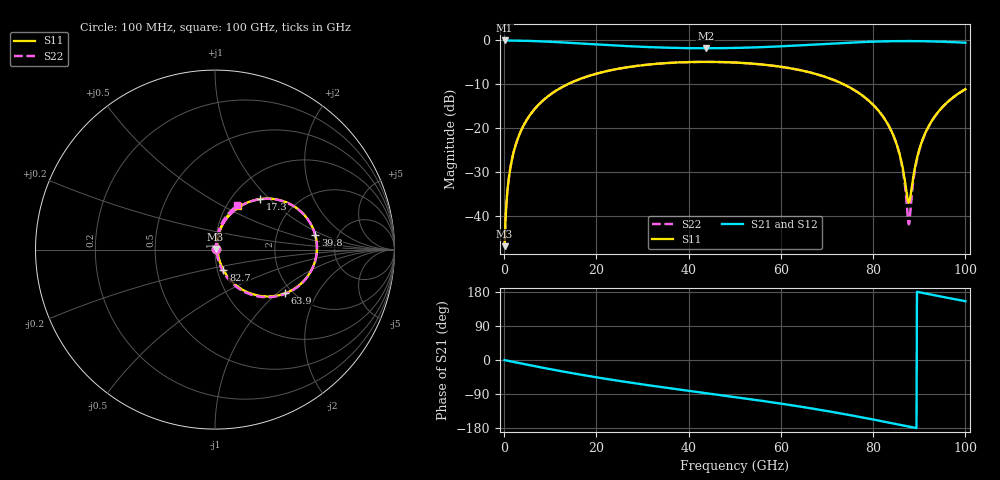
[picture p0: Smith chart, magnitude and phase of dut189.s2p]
! Touchstone file exported from HFSS 2026.1.0
!  File:  C:/ffzhzh/LocalFiles/Ansys_Project_Files/temp_train_RDL_189_1783500524_41296.aedt
!  Generated:  04:50:16 PM Jul  8, 2026
!  Design:  RDL
!  Project:  temp_train_RDL_189_1783500524_41296
! Variables:
!  h_bsmrdl = 2um
!  h_ox = 20um
!  h_rdl = 5um
!  h_sub = 80um
!  h_tmrdl = 2.77um
!  h_tsv = 80um
!  h_via = 3um
!  l_bsmrdl = 300um
!  l_sub = 1056.96um
!  l_tmrdl = 656.96um
!  m_sub = 200um
!  pitch = 56.2um
!  r_tsv = 6um
!  s_tmrdl = 10um
!  w_bsmrdl = 18um
!  w_sub = 500um
!  w_tmrdl = 25.96um
!  x_tsv_center1 = 669.94um
!  x_tsv_center2 = 987.94um
!  x_tsv_center3 = 1670.86um
!  x_tsv_center4 = 1988.86um
!  x_tsv_center5 = 2671.78um
!  x_tsv_center6 = 2989.78um
# GHz S MA R 50.000000
! Terminal data exported
! Port[1] = TM_RDL1_1_T1
! Port[2] = TM_RDL1_1_T2
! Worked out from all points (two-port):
!   1000 points, 100 MHz to 100 GHz, reference 50 ohm
!   highest |S21| = -0.03 dB at 100 MHz (marker M1); lowest = -1.8 dB at 43.7 GHz (marker M2)
!   |S21| within 3 dB of the highest: start of sweep to end of sweep
!   lowest |S11| = -46.9 dB at 100 MHz (marker M3), VSWR 1.01, Z = 50.4 + j0.285 ohm
!   |S11| at or under -10 dB: start of sweep to 13.79 GHz; 73.56 GHz to end of sweep
!   |S22| runs from -46.9 to -4.9 dB; largest |S21 - S12| = 1.8e-14
!   S11 on the Smith chart (normalised r, x): 100 MHz: 1.01, +0.01; 17.3 GHz: 1.34, +0.88; 39.8 GHz: 3.38, +0.82; 63.9 GHz: 1.83, -1.13; 82.7 GHz: 1.07, -0.25; 100 GHz: 1.13, +0.60
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0.1  0.004512 38.8  0.9965 -0.3  0.9965 -0.3  0.004512 38.8
! Gamma 0 0 0 0
! Port Impedance 50 0 50 0
0.9  0.02402 77.0  0.9952 -2.3  0.9952 -2.3  0.02402 77.0
1.5  0.03909 79.3  0.9945 -3.8  0.9945 -3.8  0.03909 79.3
4.1  0.1043 76.8  0.9891 -10.2  0.9891 -10.2  0.1043 76.8
9.1  0.2213 66.0  0.9676 -22.1  0.9676 -22.1  0.2214 65.9
16.8  0.3684 49.4  0.9196 -39.1  0.9196 -39.1  0.3685 49.3
17.3  0.3764 48.4  0.9163 -40.2  0.9163 -40.2  0.3765 48.3
33.4  0.5415 18.9  0.8299 -70.2  0.8299 -70.2  0.5416 18.7
39.8  0.5644 8.4  0.8149 -80.9  0.8149 -80.9  0.5645 8.1
43.7  0.5681 2.1  0.8123 -87.3  0.8123 -87.3  0.5682 1.8
50.1  0.558 -8.2  0.819 -97.9  0.819 -97.9  0.5581 -8.6
63.9  0.46 -32.0  0.8753 -122.4  0.8753 -122.4  0.4601 -32.6
66.7  0.4253 -37.3  0.8918 -127.9  0.8918 -127.9  0.4254 -38.0
76.4  0.2612 -56.6  0.9493 -148.7  0.9493 -148.7  0.2612 -57.9
82.7  0.1222 -67.6  0.9745 -163.5  0.9745 -163.5  0.1219 -70.6
83.4  0.1058 -68.3  0.9762 -165.2  0.9762 -165.2  0.1054 -71.6
85.8  0.04907 -65.0  0.9799 -171.0  0.9799 -171.0  0.04793 -72.2
87.8  0.01421 10.7  0.9805 -175.9  0.9805 -175.9  0.008085 14.1
89.4  0.04312 70.6  0.9793 -179.8  0.9793 -179.8  0.04125 78.5
91.4  0.09002 75.8  0.9758 175.4  0.9758 175.4  0.089 79.6
94.9  0.1707 71.9  0.9646 167.0  0.9646 167.0  0.1701 73.8
100  0.2775 62.1  0.9396 155.2  0.9396 155.2  0.2771 63.2
